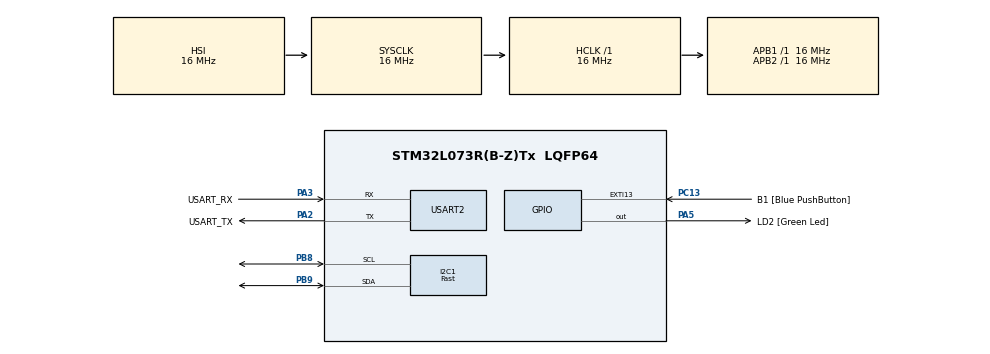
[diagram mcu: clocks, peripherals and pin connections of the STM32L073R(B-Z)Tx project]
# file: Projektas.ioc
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I2C1.I2C_Speed_Mode=I2C_Fast
I2C1.Timing=0x00300617
Mcu.Family=STM32L0
Mcu.Name=STM32L073R(B-Z)Tx
Mcu.Package=LQFP64
NVIC.TIM2_IRQn=true\:0\:0\:false\:false\:true\:true\:true\:true
NVIC.USART2_IRQn=true\:0\:0\:false\:false\:true\:true\:true\:true
PA13.GPIO_Label=TMS
PA13.Mode=Serial_Wire
PA13.Signal=SYS_SWDIO
PA14.GPIO_Label=TCK
PA14.Mode=Serial_Wire
PA14.Signal=SYS_SWCLK
PA2.GPIO_Label=USART_TX
PA2.Mode=Asynchronous
PA2.Signal=USART2_TX
PA3.GPIO_Label=USART_RX
PA3.Mode=Asynchronous
PA3.Signal=USART2_RX
PA5.GPIO_Label=LD2 [Green Led]
PA5.Signal=GPIO_Output
PB8.Mode=I2C
PB8.Signal=I2C1_SCL
PB9.Mode=I2C
PB9.Signal=I2C1_SDA
PC13.GPIO_Label=B1 [Blue PushButton]
PC13.GPIO_ModeDefaultEXTI=GPIO_MODE_IT_FALLING
PC13.Signal=GPXTI13
PC14-OSC32_IN.Signal=RCC_OSC32_IN
PC15-OSC32_OUT.Signal=RCC_OSC32_OUT
PH0-OSC_IN.GPIO_Label=MCO
PH0-OSC_IN.Mode=HSE-External-Oscillator
PH0-OSC_IN.Signal=RCC_OSC_IN
PH1-OSC_OUT.Mode=HSE-External-Oscillator
PH1-OSC_OUT.Signal=RCC_OSC_OUT
ProjectManager.HeapSize=0x200
ProjectManager.StackSize=0x400
ProjectManager.TargetToolchain=MDK-ARM V5.32
RCC.AHBFreq_Value=16000000
RCC.APB1Freq_Value=16000000
RCC.APB1TimFreq_Value=16000000
RCC.APB2Freq_Value=16000000
RCC.APB2TimFreq_Value=16000000
RCC.HCLKFreq_Value=16000000
RCC.HSE_VALUE=8000000
RCC.HSI16_VALUE=16000000
RCC.HSI48_VALUE=48000000
RCC.HSI_VALUE=16000000
RCC.LSE_VALUE=32768
RCC.MSI_VALUE=2097000
RCC.PLLMUL=RCC_PLLMUL_8
RCC.SYSCLKFreq_VALUE=16000000
RCC.SYSCLKSource=RCC_SYSCLKSOURCE_HSI
RCC.VCOOutputFreq_Value=128000000
TIM2.Period=2000-1
TIM2.Prescaler=320-1
USART2.VirtualMode-Asynchronous=VM_ASYNC
VP_TIM2_VS_ClockSourceINT.Mode=Internal
board=NUCLEO-L073RZ

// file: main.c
/* USER CODE BEGIN Header */
/**
  ******************************************************************************
  * @file           : main.c
  * @brief          : Main program body
  ******************************************************************************
  * @attention
  *
  * Copyright (c) 2026 STMicroelectronics.
  * All rights reserved.
  *
  * This software is licensed under terms that can be found in the LICENSE file
  * in the root directory of this software component.
  * If no LICENSE file comes with this software, it is provided AS-IS.
  *
  ******************************************************************************
  */
/* USER CODE END Header */
#include "main.h"

/* USER CODE BEGIN Includes */
#include "fonts.h"
#include "ssd1306.h"
#include "mpu6050.h"
#include "stdio.h"
#include "math.h"
#include "string.h"
/* USER CODE END Includes */

I2C_HandleTypeDef hi2c1;

TIM_HandleTypeDef htim2;

UART_HandleTypeDef huart2;

void SystemClock_Config(void);
static void MX_GPIO_Init(void);
static void MX_I2C1_Init(void);
static void MX_USART2_UART_Init(void);
static void MX_TIM2_Init(void);

/* USER CODE BEGIN 0 */
#define NumSamples 25
#define SendSamples 5
#define Alpha 0.05 //Accel koeficientas
#define Cal_samples 2000
#define dt 0.04 //time between each sample, in seconds
#define deadzone 0.2 //ekrane vaizduojamu skaiciu riba, iki kurios rodoma 0

//Flags
int Timer_Flag = 0;
int Cal_request = 0;

//Counters
int Sample = 0;
int counter = 0;

//Buffers
char buffer[20];
float Gyro_Gx_Buffer[NumSamples], Gyro_Gy_Buffer[NumSamples], Gyro_Gz_Buffer[NumSamples];
uint8_t TxBuffer[35];
uint8_t RxBuffer[20];

char *msg;

//Raw data
float Gx = 0, Gy = 0, Gz = 0; //raw gyro data
float Ax = 0, Ay = 0, Az = 0; //raw accel data

//Angles
float angle_x = 0, angle_y = 0, angle_z = 0; //angle of each axis
float acc_angle_x, acc_angle_y, acc_angle_z;
float avg02_x = 0, avg02_y = 0, avg02_z = 0;
float avg_x = 0, avg_y = 0, avg_z = 0;

//Calibration
float offset_x, offset_y, offset_z;
float bias_x = 0, bias_y = 0, bias_z = 0; //calibrated offset

//For UART
uint8_t rxByte;
uint8_t idx = 0;

void HandleError(){
	uint32_t uart_err;
	uart_err=HAL_UART_GetError(&huart2);
}

void HAL_UART_RxCpltCallback(UART_HandleTypeDef *huart){
	if (huart->Instance == USART2){
		if (rxByte != '\n' && rxByte != '\r' && idx < sizeof(RxBuffer) - 1){
			RxBuffer[idx++] = rxByte;
    }
  if(idx == 3){
      idx = 0;
      if (strcmp((char*)RxBuffer, "CAL") == 0){
				Cal_request = 1;
      }
    }
	HAL_UART_Receive_IT(&huart2, &rxByte, 1);
	}
}

void HAL_TIM_PeriodElapsedCallback(TIM_HandleTypeDef *htim){
	if(htim->Instance == TIM2)
	{
		Timer_Flag = 1;
	}
}

void Calibrate(){
	msg = "Calibrating...\r\n";
	HAL_UART_Transmit_IT(&huart2, (uint8_t*)msg, strlen(msg));
	SSD1306_Clear();
	SSD1306_GotoXY(0,32);
	SSD1306_Puts("Calibrating...", &Font_7x10, 1);
	SSD1306_UpdateScreen();
	//Nunuliname visas reiksmes
	Sample = 0;
	angle_x = 0, angle_y = 0, angle_z = 0;
	bias_x = 0, bias_y = 0, bias_z = 0;
	offset_x = 0, offset_y = 0;

	for(int i = 0; i < Cal_samples; i++) {
    MPU6050_Read_Accel(&Ax, &Ay, &Az);
		MPU6050_Read_Gyro(&Gx, &Gy, &Gz);

		offset_x += atan2(Ay,Az)*57.2958;
		offset_y += atan2(-Ax, sqrt(Ay*Ay + Az*Az))*57.2958;
    bias_x += Gx;
    bias_y += Gy;
    bias_z += Gz;
		HAL_Delay(5);
	}

	offset_x /= Cal_samples;
	offset_y /= Cal_samples;

	bias_x /= Cal_samples;
	bias_y /= Cal_samples;
	bias_z /= Cal_samples;
	msg = "Done!\r\n";
	HAL_UART_Transmit_IT(&huart2, (uint8_t*)msg, strlen(msg));
}

void UpdateScreen(){
	//Fonts: 7x10, 11x18, 16x26
	//Screen size 128x64
	snprintf(buffer, sizeof(buffer), "%d", counter);
	SSD1306_GotoXY(0,0);
	SSD1306_Puts(buffer, &Font_7x10, 1);
	//X below
	if(fabs(avg_x) < deadzone) avg_x=0;
	snprintf(buffer, sizeof(buffer), "X: %.1f   ", avg_x);
	SSD1306_GotoXY(0,9);
	SSD1306_Puts(buffer, &Font_11x18, 1);
	//Y below
	if(fabs(avg_y) < deadzone) avg_y=0;
	snprintf(buffer, sizeof(buffer), "Y: %.1f   ", avg_y);
	SSD1306_GotoXY(0,27);
	SSD1306_Puts(buffer, &Font_11x18, 1);
	//Z below
	if(fabs(avg_z) < deadzone) avg_z=0;
	snprintf(buffer, sizeof(buffer), "Z: %.1f   ", avg_z);
	SSD1306_GotoXY(0,45);
	SSD1306_Puts(buffer, &Font_11x18, 1);
	SSD1306_UpdateScreen();
}
/* USER CODE END 0 */

int main(void)
{

  /* MCU Configuration--------------------------------------------------------*/

  /* Reset of all peripherals, Initializes the Flash interface and the Systick. */
  HAL_Init();

  /* Configure the system clock */
  SystemClock_Config();

  /* Initialize all configured peripherals */
  MX_GPIO_Init();
  MX_I2C1_Init();
  MX_USART2_UART_Init();
  MX_TIM2_Init();
  /* USER CODE BEGIN 2 */
	HAL_TIM_Base_Start_IT(&htim2);
	SSD1306_Init();
	mpu6050_init();

	msg = "Program started\r\n";
	HAL_UART_Transmit(&huart2, (uint8_t*)msg, strlen(msg), 1000);
	//Fonts: 7x10, 11x18, 16x26

	SSD1306_GotoXY(0,0);
	SSD1306_Puts("HELLO", &Font_11x18, 1);
	SSD1306_GotoXY(10,30);
	SSD1306_Puts(" WORLD :)", &Font_11x18, 1);
	SSD1306_UpdateScreen();
	HAL_Delay(2000);
	Calibrate();
	SSD1306_Clear();
	UpdateScreen();
	HAL_UART_Receive_IT(&huart2, &rxByte, 1);
  /* USER CODE END 2 */

  /* Infinite loop */
  while (1)
  {

    /* USER CODE BEGIN 3 */

		if(Timer_Flag == 1){
			MPU6050_Read_Gyro(&Gx, &Gy, &Gz);
			MPU6050_Read_Accel(&Ax, &Ay, &Az);

			if(fabs(Az)<0.05)
				Az = 0.05;
			//Angle from accel
			acc_angle_x = atan2(Ay,Az) * 57.2958; // 180/PI
			acc_angle_y = atan2(-Ax, sqrt(Ay*Ay + Az*Az))* 57.2958;
			//Angle from gyro
			angle_x = (1-Alpha)*(angle_x+(Gx-bias_x)*dt)+Alpha*(acc_angle_x-offset_x);
			angle_y = (1-Alpha)*(angle_y+(Gy-bias_y)*dt)+Alpha*(acc_angle_y-offset_y);
			angle_z = (angle_z+(Gz-bias_z)*dt);
			//Placing into buffer
			Gyro_Gx_Buffer[Sample]=angle_x;
			Gyro_Gy_Buffer[Sample]=-angle_y;
			Gyro_Gz_Buffer[Sample]=-angle_z;

			Sample++;

			if(Sample>= SendSamples && Sample%SendSamples == 0){
				avg02_x = 0, avg02_y = 0, avg02_z = 0;
				for(int i = Sample-SendSamples; i<Sample; i++){
					avg02_x += Gyro_Gx_Buffer[i];
					avg02_y += Gyro_Gy_Buffer[i];
					avg02_z += Gyro_Gz_Buffer[i];
				}
				avg02_x /= SendSamples, avg02_y /= SendSamples, avg02_z /= SendSamples;

				sprintf((char *)TxBuffer,"[%d] X: %.2f, Y: %.2f, Z: %.2f\r\n",Sample, avg02_x, avg02_y, avg02_z);
				HAL_UART_Transmit_IT(&huart2, TxBuffer, strlen((char*)TxBuffer));
			}

			Timer_Flag = 0;
		}
		if(Sample >= NumSamples){
			avg_x = 0, avg_y = 0, avg_z = 0;

			for(int i=0; i<NumSamples; i++){
				avg_x += Gyro_Gx_Buffer[i];
				avg_y += Gyro_Gy_Buffer[i];
				avg_z += Gyro_Gz_Buffer[i];
			}
			avg_x /= NumSamples, avg_y /= NumSamples, avg_z /= NumSamples;

			counter++;
			UpdateScreen();
			Sample = 0;
		}
		if(Cal_request == 1){
			Calibrate();
			Cal_request = 0;
		}
  }
  /* USER CODE END 3 */
}

void SystemClock_Config(void)
{
  RCC_OscInitTypeDef RCC_OscInitStruct = {0};
  RCC_ClkInitTypeDef RCC_ClkInitStruct = {0};
  RCC_PeriphCLKInitTypeDef PeriphClkInit = {0};

  /** Configure the main internal regulator output voltage
  */
  __HAL_PWR_VOLTAGESCALING_CONFIG(PWR_REGULATOR_VOLTAGE_SCALE1);

  /** Initializes the RCC Oscillators according to the specified parameters
  * in the RCC_OscInitTypeDef structure.
  */
  RCC_OscInitStruct.OscillatorType = RCC_OSCILLATORTYPE_HSI;
  RCC_OscInitStruct.HSIState = RCC_HSI_ON;
  RCC_OscInitStruct.HSICalibrationValue = RCC_HSICALIBRATION_DEFAULT;
  RCC_OscInitStruct.PLL.PLLState = RCC_PLL_NONE;
  if (HAL_RCC_OscConfig(&RCC_OscInitStruct) != HAL_OK)
  {
    Error_Handler();
  }

  /** Initializes the CPU, AHB and APB buses clocks
  */
  RCC_ClkInitStruct.ClockType = RCC_CLOCKTYPE_HCLK|RCC_CLOCKTYPE_SYSCLK
                              |RCC_CLOCKTYPE_PCLK1|RCC_CLOCKTYPE_PCLK2;
  RCC_ClkInitStruct.SYSCLKSource = RCC_SYSCLKSOURCE_HSI;
  RCC_ClkInitStruct.AHBCLKDivider = RCC_SYSCLK_DIV1;
  RCC_ClkInitStruct.APB1CLKDivider = RCC_HCLK_DIV1;
  RCC_ClkInitStruct.APB2CLKDivider = RCC_HCLK_DIV1;

  if (HAL_RCC_ClockConfig(&RCC_ClkInitStruct, FLASH_LATENCY_0) != HAL_OK)
  {
    Error_Handler();
  }
  PeriphClkInit.PeriphClockSelection = RCC_PERIPHCLK_USART2|RCC_PERIPHCLK_I2C1;
  PeriphClkInit.Usart2ClockSelection = RCC_USART2CLKSOURCE_PCLK1;
  PeriphClkInit.I2c1ClockSelection = RCC_I2C1CLKSOURCE_PCLK1;
  if (HAL_RCCEx_PeriphCLKConfig(&PeriphClkInit) != HAL_OK)
  {
    Error_Handler();
  }
}

static void MX_I2C1_Init(void)
{

  hi2c1.Instance = I2C1;
  hi2c1.Init.Timing = 0x00300617;
  hi2c1.Init.OwnAddress1 = 0;
  hi2c1.Init.AddressingMode = I2C_ADDRESSINGMODE_7BIT;
  hi2c1.Init.DualAddressMode = I2C_DUALADDRESS_DISABLE;
  hi2c1.Init.OwnAddress2 = 0;
  hi2c1.Init.OwnAddress2Masks = I2C_OA2_NOMASK;
  hi2c1.Init.GeneralCallMode = I2C_GENERALCALL_DISABLE;
  hi2c1.Init.NoStretchMode = I2C_NOSTRETCH_DISABLE;
  if (HAL_I2C_Init(&hi2c1) != HAL_OK)
  {
    Error_Handler();
  }

  /** Configure Analogue filter
  */
  if (HAL_I2CEx_ConfigAnalogFilter(&hi2c1, I2C_ANALOGFILTER_ENABLE) != HAL_OK)
  {
    Error_Handler();
  }

  /** Configure Digital filter
  */
  if (HAL_I2CEx_ConfigDigitalFilter(&hi2c1, 0) != HAL_OK)
  {
    Error_Handler();
  }

}

static void MX_TIM2_Init(void)
{

  TIM_ClockConfigTypeDef sClockSourceConfig = {0};
  TIM_MasterConfigTypeDef sMasterConfig = {0};

  htim2.Instance = TIM2;
  htim2.Init.Prescaler = 320-1;
  htim2.Init.CounterMode = TIM_COUNTERMODE_UP;
  htim2.Init.Period = 2000-1;
  htim2.Init.ClockDivision = TIM_CLOCKDIVISION_DIV1;
  htim2.Init.AutoReloadPreload = TIM_AUTORELOAD_PRELOAD_DISABLE;
  if (HAL_TIM_Base_Init(&htim2) != HAL_OK)
  {
    Error_Handler();
  }
  sClockSourceConfig.ClockSource = TIM_CLOCKSOURCE_INTERNAL;
  if (HAL_TIM_ConfigClockSource(&htim2, &sClockSourceConfig) != HAL_OK)
  {
    Error_Handler();
  }
  sMasterConfig.MasterOutputTrigger = TIM_TRGO_RESET;
  sMasterConfig.MasterSlaveMode = TIM_MASTERSLAVEMODE_DISABLE;
  if (HAL_TIMEx_MasterConfigSynchronization(&htim2, &sMasterConfig) != HAL_OK)
  {
    Error_Handler();
  }

}

static void MX_USART2_UART_Init(void)
{

  huart2.Instance = USART2;
  huart2.Init.BaudRate = 115200;
  huart2.Init.WordLength = UART_WORDLENGTH_8B;
  huart2.Init.StopBits = UART_STOPBITS_1;
  huart2.Init.Parity = UART_PARITY_NONE;
  huart2.Init.Mode = UART_MODE_TX_RX;
  huart2.Init.HwFlowCtl = UART_HWCONTROL_NONE;
  huart2.Init.OverSampling = UART_OVERSAMPLING_16;
  huart2.Init.OneBitSampling = UART_ONE_BIT_SAMPLE_DISABLE;
  huart2.AdvancedInit.AdvFeatureInit = UART_ADVFEATURE_NO_INIT;
  if (HAL_UART_Init(&huart2) != HAL_OK)
  {
    Error_Handler();
  }

}

static void MX_GPIO_Init(void)
{
  GPIO_InitTypeDef GPIO_InitStruct = {0};

  /* GPIO Ports Clock Enable */
  __HAL_RCC_GPIOC_CLK_ENABLE();
  __HAL_RCC_GPIOH_CLK_ENABLE();
  __HAL_RCC_GPIOA_CLK_ENABLE();
  __HAL_RCC_GPIOB_CLK_ENABLE();

  /*Configure GPIO pin Output Level */
  HAL_GPIO_WritePin(LD2_GPIO_Port, LD2_Pin, GPIO_PIN_RESET);

  /*Configure GPIO pin : B1_Pin */
  GPIO_InitStruct.Pin = B1_Pin;
  GPIO_InitStruct.Mode = GPIO_MODE_IT_FALLING;
  GPIO_InitStruct.Pull = GPIO_NOPULL;
  HAL_GPIO_Init(B1_GPIO_Port, &GPIO_InitStruct);

  /*Configure GPIO pin : LD2_Pin */
  GPIO_InitStruct.Pin = LD2_Pin;
  GPIO_InitStruct.Mode = GPIO_MODE_OUTPUT_PP;
  GPIO_InitStruct.Pull = GPIO_NOPULL;
  GPIO_InitStruct.Speed = GPIO_SPEED_FREQ_LOW;
  HAL_GPIO_Init(LD2_GPIO_Port, &GPIO_InitStruct);

}

void Error_Handler(void)
{
  __disable_irq();
  while (1)
  {
  }
}
